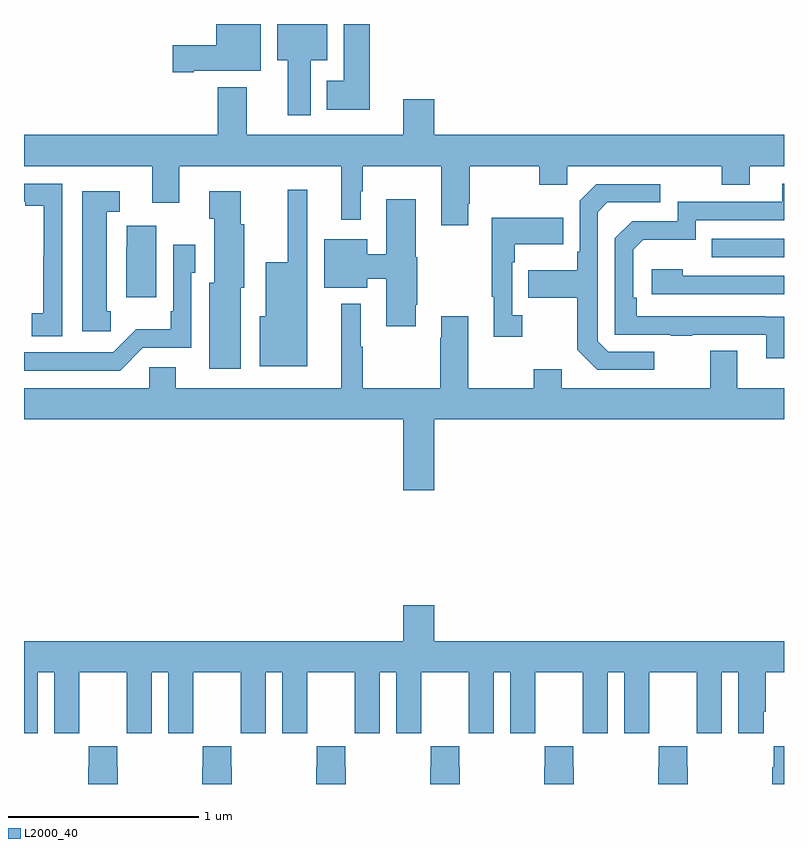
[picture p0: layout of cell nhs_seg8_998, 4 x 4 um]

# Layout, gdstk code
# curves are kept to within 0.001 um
import gdstk
lib = gdstk.Library(unit=1e-6, precision=1e-09)
def R(c, l, rs):  # rectangles x0, y0, x1, y1
    for r in rs: c.add(gdstk.rectangle(r[:2], r[2:], *l))
def P(c, l, *ps):  # polygons
    for p in ps: c.add(gdstk.Polygon(p, *l))
L2000_40 = (2000, 40)

nhs_seg8_998 = lib.new_cell('nhs_seg8_998')
R(nhs_seg8_998, L2000_40, [(178.621,1130.673,179,1130.769)])
P(nhs_seg8_998, L2000_40, [(175.894,1131.653),(176.245,1131.653),(176.245,1131.9),(176.012,1131.9),(176.012,1131.788),(175.782,1131.788),(175.782,1131.646),(175.894,1131.646)],
  [(176.509,1131.71),(176.596,1131.71),(176.596,1131.9),(176.333,1131.9),(176.333,1131.71),(176.387,1131.71),(176.387,1131.42),(176.509,1131.42)],
  [(176.819,1131.9),(176.684,1131.9),(176.684,1131.601),(176.594,1131.601),(176.594,1131.449),(176.819,1131.449)],
  [(177.337,1130.953),(177.345,1130.953),(177.345,1131.152),(177.712,1131.152),(177.712,1131.053),(177.858,1131.053),(177.858,1131.152),(178.672,1131.152),(178.672,1131.053),(178.819,1131.053),(178.819,1131.152),(179,1131.152),(179,1131.316),(177.16,1131.316),(177.16,1131.505),(176.996,1131.505),(176.996,1131.316),(176.173,1131.316),(176.173,1131.568),(176.021,1131.568),(176.021,1131.316),(175,1131.316),(175,1131.152),(175.676,1131.152),(175.676,1130.958),(175.816,1130.958),(175.816,1131.152),(176.669,1131.152),(176.669,1130.871),(176.773,1130.871),(176.773,1131.02),(176.783,1131.02),(176.783,1131.152),(177.197,1131.152),(177.197,1130.841),(177.337,1130.841)],
  [(179,1130.36),(178.226,1130.361),(178.226,1130.458),(178.206,1130.458),(178.206,1130.712),(178.259,1130.765),(178.536,1130.765),(178.536,1130.868),(179,1130.868),(179,1131.06),(178.991,1131.06),(178.991,1130.964),(178.44,1130.964),(178.44,1130.862),(178.2,1130.862),(178.11,1130.772),(178.11,1130.265),(178.405,1130.265),(178.405,1130.26),(178.517,1130.26),(178.517,1130.265),(178.907,1130.265),(178.907,1130.142),(179,1130.142)],
  [(175.2,1131.06),(175,1131.06),(175,1130.964),(175.007,1130.964),(175.007,1130.944),(175.103,1130.944),(175.103,1130.681),(175.102,1130.681),(175.102,1130.377),(175.041,1130.377),(175.041,1130.257),(175.2,1130.257)],
  [(178.318,1130.175),(178.074,1130.175),(178.02,1130.229),(178.02,1130.91),(178.071,1130.961),(178.348,1130.961),(178.348,1131.057),(178.011,1131.057),(177.924,1130.97),(177.924,1130.701),(177.912,1130.701),(177.912,1130.605),(177.655,1130.605),(177.655,1130.458),(177.912,1130.458),(177.912,1130.185),(178.017,1130.079),(178.318,1130.079)],
  [(176.491,1131.028),(176.387,1131.028),(176.387,1130.647),(176.273,1130.647),(176.273,1130.362),(176.24,1130.362),(176.24,1130.099),(176.491,1130.099)],
  [(176.14,1130.511),(176.158,1130.511),(176.158,1130.847),(176.14,1130.847),(176.14,1131.019),(175.976,1131.019),(175.976,1130.874),(176,1130.874),(176,1130.538),(175.976,1130.538),(175.976,1130.085),(176.14,1130.085)],
  [(175.457,1130.388),(175.435,1130.388),(175.435,1130.911),(175.504,1130.911),(175.504,1131.019),(175.307,1131.019),(175.307,1130.283),(175.457,1130.283)],
  [(177.061,1130.422),(177.069,1130.422),(177.069,1130.673),(177.061,1130.673),(177.061,1130.977),(176.906,1130.977),(176.906,1130.689),(176.806,1130.689),(176.806,1130.767),(176.579,1130.767),(176.579,1130.513),(176.806,1130.513),(176.806,1130.56),(176.906,1130.56),(176.906,1130.31),(177.061,1130.31)],
  [(177.622,1130.366),(177.57,1130.366),(177.57,1130.645),(177.583,1130.645),(177.583,1130.741),(177.839,1130.741),(177.839,1130.881),(177.462,1130.881),(177.462,1130.465),(177.473,1130.465),(177.473,1130.253),(177.622,1130.253)],
  [(175.696,1130.839),(175.54,1130.839),(175.54,1130.726),(175.538,1130.726),(175.538,1130.463),(175.696,1130.463)],
  [(175.626,1130.196),(175.881,1130.196),(175.881,1130.592),(175.902,1130.592),(175.902,1130.737),(175.785,1130.737),(175.785,1130.389),(175.773,1130.389),(175.773,1130.293),(175.591,1130.293),(175.47,1130.172),(175,1130.172),(175,1130.076),(175.506,1130.076)],
  [(179,1130.574),(178.466,1130.574),(178.466,1130.608),(178.305,1130.608),(178.305,1130.478),(179,1130.478)],
  [(177.16,1129.82),(179,1129.82),(179,1129.984),(178.753,1129.984),(178.753,1130.179),(178.613,1130.179),(178.613,1129.984),(177.829,1129.984),(177.829,1130.083),(177.682,1130.083),(177.682,1129.984),(177.337,1129.984),(177.337,1130.362),(177.197,1130.362),(177.197,1130.249),(177.19,1130.249),(177.19,1129.984),(176.783,1129.984),(176.783,1130.201),(176.773,1130.201),(176.773,1130.428),(176.669,1130.428),(176.669,1129.984),(175.798,1129.984),(175.798,1130.094),(175.659,1130.094),(175.659,1129.984),(175,1129.984),(175,1129.82),(176.996,1129.82),(176.996,1129.446),(177.16,1129.446)],
  [(175.072,1128.488),(175.16,1128.488),(175.16,1128.168),(175.29,1128.168),(175.29,1128.28),(175.291,1128.28),(175.291,1128.488),(175.541,1128.488),(175.541,1128.28),(175.542,1128.28),(175.542,1128.168),(175.672,1128.168),(175.672,1128.488),(175.76,1128.488),(175.76,1128.168),(175.89,1128.168),(175.89,1128.28),(175.891,1128.28),(175.891,1128.488),(176.141,1128.488),(176.141,1128.28),(176.142,1128.28),(176.142,1128.168),(176.272,1128.168),(176.272,1128.488),(176.36,1128.488),(176.36,1128.168),(176.49,1128.168),(176.49,1128.28),(176.491,1128.28),(176.491,1128.488),(176.741,1128.488),(176.741,1128.28),(176.742,1128.28),(176.742,1128.168),(176.872,1128.168),(176.872,1128.488),(176.96,1128.488),(176.96,1128.168),(177.09,1128.168),(177.09,1128.28),(177.091,1128.28),(177.091,1128.488),(177.341,1128.488),(177.341,1128.28),(177.342,1128.28),(177.342,1128.168),(177.472,1128.168),(177.472,1128.488),(177.56,1128.488),(177.56,1128.168),(177.69,1128.168),(177.69,1128.28),(177.691,1128.28),(177.691,1128.488),(177.941,1128.488),(177.941,1128.28),(177.942,1128.28),(177.942,1128.168),(178.072,1128.168),(178.072,1128.488),(178.16,1128.488),(178.16,1128.168),(178.29,1128.168),(178.29,1128.28),(178.291,1128.28),(178.291,1128.488),(178.541,1128.488),(178.541,1128.28),(178.542,1128.28),(178.542,1128.168),(178.672,1128.168),(178.672,1128.488),(178.76,1128.488),(178.76,1128.168),(178.894,1128.168),(178.894,1128.28),(178.904,1128.28),(178.904,1128.488),(179,1128.488),(179,1128.652),(177.16,1128.652),(177.16,1128.841),(176.996,1128.841),(176.996,1128.652),(175,1128.652),(175,1128.168),(175.072,1128.168)],
  [(177.894,1127.987),(177.891,1127.987),(177.891,1128.1),(177.741,1128.1),(177.741,1127.987),(177.739,1127.987),(177.739,1127.9),(177.894,1127.9)],
  [(178.494,1127.987),(178.491,1127.987),(178.491,1128.1),(178.341,1128.1),(178.341,1127.987),(178.339,1127.987),(178.339,1127.9),(178.494,1127.9)],
  [(179,1128.1),(178.945,1128.1),(178.945,1127.987),(178.939,1127.987),(178.939,1127.9),(179,1127.9)],
  [(177.294,1127.987),(177.291,1127.987),(177.291,1128.1),(177.141,1128.1),(177.141,1127.987),(177.139,1127.987),(177.139,1127.9),(177.294,1127.9)],
  [(176.694,1127.987),(176.691,1127.987),(176.691,1128.1),(176.541,1128.1),(176.541,1127.987),(176.539,1127.987),(176.539,1127.9),(176.694,1127.9)],
  [(176.094,1127.987),(176.091,1127.987),(176.091,1128.1),(175.941,1128.1),(175.941,1127.987),(175.939,1127.987),(175.939,1127.9),(176.094,1127.9)],
  [(175.494,1127.987),(175.491,1127.987),(175.491,1128.1),(175.341,1128.1),(175.341,1127.987),(175.339,1127.987),(175.339,1127.9),(175.494,1127.9)])

lib.write_gds('nhs_seg8_998.gds')
